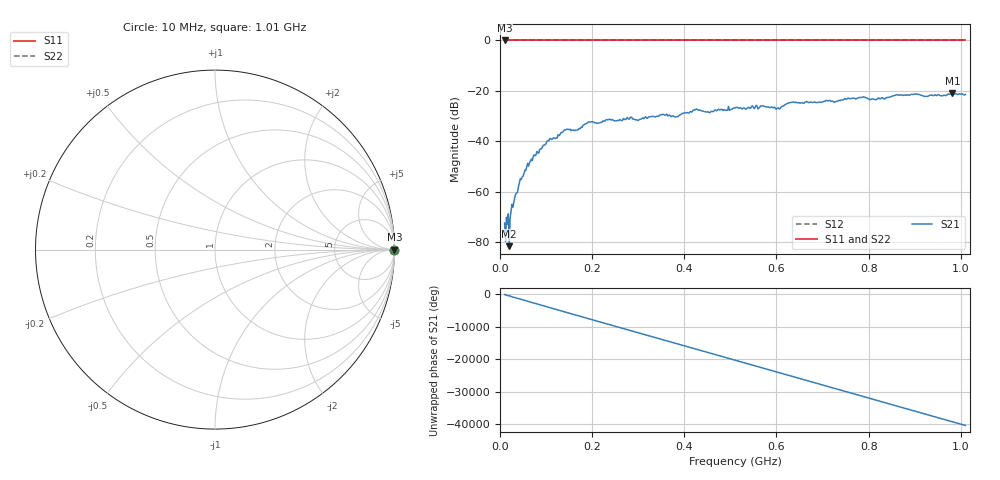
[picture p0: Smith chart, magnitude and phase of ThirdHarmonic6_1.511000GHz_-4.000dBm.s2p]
! 8/16/2025 5:47:29 PM
! C:\ANRITSUVNA\TEMP\TEMP.S2P
! CHANNEL.1
! TR.MEASUREMENT
! RAW.DATA
! RF.CORRECTION.OFF
! AVERAGING.OFF
! IF.BANDWIDTH: 5KHZ
! SWEEPTYPE:  FREQ.SWEEP(Linear)
! Reference Plane Port Info
! PORT:  PORT1  PORT2
! DISTANCE:  0  m  0  m
! TIME:  0  s  0  s
! PHASE.OFFSET:  0  deg.  0  deg.
! LOSS:  0  dB  0  dB
! REF.LOSS:  0  dB  0  dB
! REF.FREQ:  0  Hz  0  Hz
! Power Info
! POWER:  -20  dBm  -20  dBm
! EFF.POWER:  -20  dBm  -20  dBm
! SOURCE.ATTEN:  0  dB  0  dB
! TEST.ATTEN:  0  dB  0  dB
# GHZ S RI R 50.0
! FREQ.GHZ  S11RE  S11IM  S21RE  S21IM  S12RE  S12IM  S22RE  S22IM
!; PortSelection: Port_12
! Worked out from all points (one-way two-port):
!   501 points, 10 MHz to 1.01 GHz, reference 50 ohm
!   highest |S21| = -20.95 dB at 982 MHz (marker M1); lowest = -81.6 dB at 20 MHz (marker M2)
!   lowest |S11| = 0.0 dB at 10 MHz (marker M3)
!   |S11| at or under -10 dB: nowhere
!   |S22| runs from 0.0 to 0.0 dB; largest |S21 - S12| = 1.1
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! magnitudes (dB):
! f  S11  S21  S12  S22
! 10 MHz  0.0  -72.4  0.0  0.0
! 14 MHz  0.0  -70.2  0.0  0.0
! 16 MHz  0.0  -73.0  0.0  0.0
! 20 MHz  0.0  -81.6  0.0  0.0
! 24 MHz  0.0  -67.8  0.0  0.0
! 28 MHz  0.0  -66.2  0.0  0.0
! 44 MHz  0.0  -54.9  0.0  0.0
! 76 MHz  0.0  -45.7  0.0  0.0
! 106 MHz  0.0  -39.8  0.0  0.0
! 142 MHz  0.0  -35.6  0.0  0.0
! 178 MHz  0.0  -34.5  0.0  0.0
! 196 MHz  0.0  -32.4  0.0  0.0
! 344 MHz  0.0  -30.1  0.0  0.0
! 382 MHz  0.0  -30.4  0.0  0.0
! 424 MHz  0.0  -27.5  0.0  0.0
! 510 MHz  0.0  -26.8  0.0  0.0
! 604 MHz  0.0  -26.7  0.0  0.0
! 634 MHz  0.0  -24.5  0.0  0.0
! 678 MHz  0.0  -24.7  0.0  0.0
! 844 MHz  0.0  -22.6  0.0  0.0
! 982 MHz  0.0  -20.9  0.0  0.0
! 1.01 GHz  0.0  -21.5  0.0  0.0
